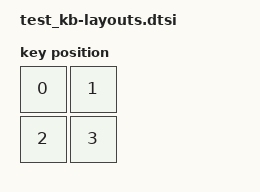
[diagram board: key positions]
#include <physical_layouts.dtsi>

/ {
    physical_layout_test_kb: physical_layout_test_kb {
        compatible = "zmk,physical-layout";
        display-name = "test_kb";
        keys  //                     w   h    x    y     rot    rx    ry
            = <&key_physical_attrs 100 100    0    0       0     0     0>
            , <&key_physical_attrs 100 100  100    0       0   100     0>
            , <&key_physical_attrs 100 100    0  100       0     0   100>
            , <&key_physical_attrs 100 100  100  100       0   100   100>
            ;
    };
};
